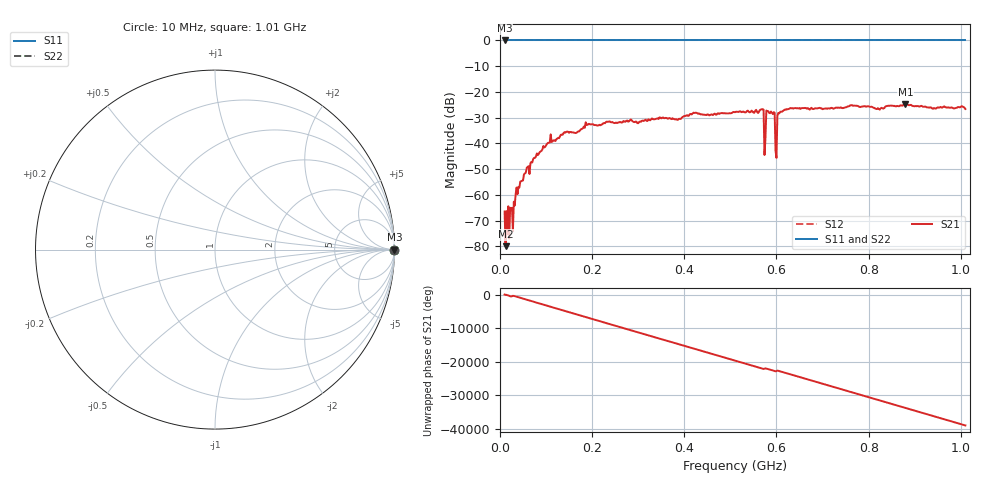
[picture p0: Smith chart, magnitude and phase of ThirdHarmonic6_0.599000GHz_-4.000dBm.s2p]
! 8/15/2025 7:31:10 PM
! C:\ANRITSUVNA\TEMP\TEMP.S2P
! CHANNEL.1
! TR.MEASUREMENT
! RAW.DATA
! RF.CORRECTION.OFF
! AVERAGING.OFF
! IF.BANDWIDTH: 5KHZ
! SWEEPTYPE:  FREQ.SWEEP(Linear)
! Reference Plane Port Info
! PORT:  PORT1  PORT2
! DISTANCE:  0  m  0  m
! TIME:  0  s  0  s
! PHASE.OFFSET:  0  deg.  0  deg.
! LOSS:  0  dB  0  dB
! REF.LOSS:  0  dB  0  dB
! REF.FREQ:  0  Hz  0  Hz
! Power Info
! POWER:  -20  dBm  -20  dBm
! EFF.POWER:  -20  dBm  -20  dBm
! SOURCE.ATTEN:  0  dB  0  dB
! TEST.ATTEN:  0  dB  0  dB
# GHZ S RI R 50.0
! FREQ.GHZ  S11RE  S11IM  S21RE  S21IM  S12RE  S12IM  S22RE  S22IM
!; PortSelection: Port_12
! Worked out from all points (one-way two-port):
!   501 points, 10 MHz to 1.01 GHz, reference 50 ohm
!   highest |S21| = -24.69 dB at 880 MHz (marker M1); lowest = -79.9 dB at 12 MHz (marker M2)
!   lowest |S11| = 0.0 dB at 10 MHz (marker M3)
!   |S11| at or under -10 dB: nowhere
!   |S22| runs from 0.0 to 0.0 dB; largest |S21 - S12| = 1.1
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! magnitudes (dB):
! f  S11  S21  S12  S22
! 10 MHz  0.0  -66.5  0.0  0.0
! 12 MHz  0.0  -79.9  0.0  0.0
! 16 MHz  0.0  -75.3  0.0  0.0
! 40 MHz  0.0  -56.8  0.0  0.0
! 76 MHz  0.0  -45.6  0.0  0.0
! 106 MHz  0.0  -39.7  0.0  0.0
! 178 MHz  0.0  -34.3  0.0  0.0
! 344 MHz  0.0  -30.5  0.0  0.0
! 510 MHz  0.0  -27.9  0.0  0.0
! 568 MHz  0.0  -26.8  0.0  0.0
! 572 MHz  0.0  -26.9  0.0  0.0
! 578 MHz  0.0  -27.2  0.0  0.0
! 582 MHz  0.0  -27.5  0.0  0.0
! 592 MHz  0.0  -28.6  0.0  0.0
! 596 MHz  0.0  -28.1  0.0  0.0
! 602 MHz  0.0  -29.2  0.0  0.0
! 606 MHz  0.0  -28.3  0.0  0.0
! 608 MHz  0.0  -27.8  0.0  0.0
! 678 MHz  0.0  -26.6  0.0  0.0
! 844 MHz  0.0  -25.4  0.0  0.0
! 880 MHz  0.0  -24.7  0.0  0.0
! 1.01 GHz  0.0  -26.6  0.0  0.0
